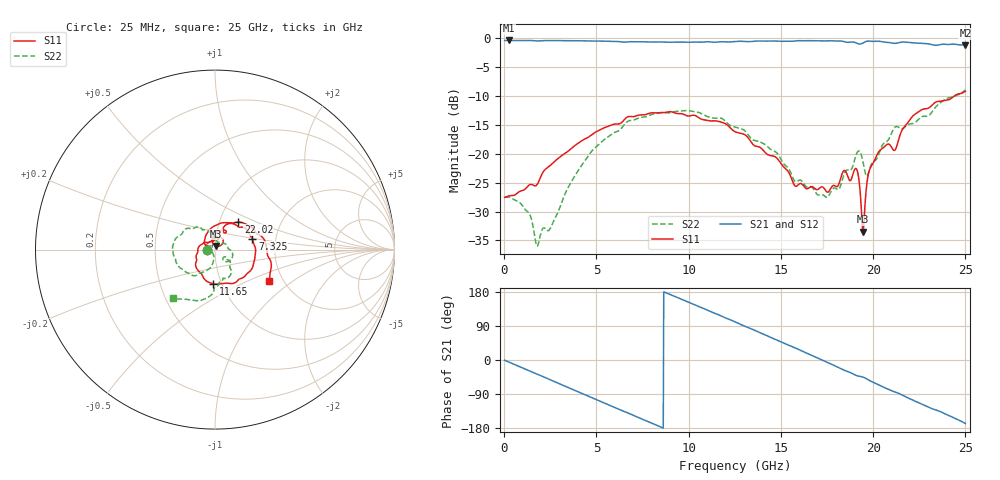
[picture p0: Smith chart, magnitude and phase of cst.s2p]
! RG_ts6_sw_gnd: Finite board 24 × 16 mm, ThunderScope stack, via F → In3 (stub to B) through In1 GND / In2 GND / In4 GND, four GND vias at 1 mm joined to In1 and In4 and In2
! stackup: ThunderScope Rev5.3 6-layer with the In2 plane
! ports: 1 F, 2 In3
! CST Studio Suite 2025.5 Release from 2025-05-30, time domain (FIT, hexahedral, PBA), 288925 mesh cells, 68 s
! mesh: {'lpw': 20, 'lpb': 20, 'minstep': 0.0, 'ratio': 20}; ports: port 1 (face); port 2 (face)
! interpolated from CST's 1001 samples to the case grid
# Hz S RI R 50
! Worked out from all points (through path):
!   1000 points, 25 MHz to 25 GHz, reference 50 ohm
!   highest |S21| = -0.37 dB at 275 MHz (marker M1); lowest = -1.2 dB at 25 GHz (marker M2)
!   group delay of S21, straight-line fit = 58.4 ps
!   lowest |S11| = -33.5 dB at 19.45 GHz (marker M3), VSWR 1.04, Z = 50.6 + j2.03 ohm
!   |S11| at or under -10 dB: start of sweep to 24.39 GHz
!   |S22| runs from -36.0 to -8.9 dB; largest |S21 - S12| = 0.0015
!   S11 on the Smith chart (normalised r, x): 25 MHz: 0.92, +0.00; 7.325 GHz: 1.51, +0.19; 11.65 GHz: 0.91, -0.36; 22.02 GHz: 1.23, +0.39; 25 GHz: 1.70, -0.67
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2.5e7  -0.042 0.000123  0.9572 -0.00864  0.9574 -0.00871  -0.0421 4.51e-05
2.75e8  -0.0432 0.00279  0.9532 -0.0962  0.9529 -0.0963  -0.0422 0.00145
1.325e9  -0.0496 0.0193  0.8469 -0.4469  0.8468 -0.4472  -0.0307 0.00318
1.8e9  -0.0489 0.0243  0.7503 -0.5809  0.7506 -0.5812  -0.0151 -0.00489
4.2e9  -0.00787 0.1295  0.0333 -0.9512  0.033 -0.9513  -0.0132 -0.0783
5.6e9  0.0909 0.1464  -0.4338 -0.8389  -0.4335 -0.8388  -0.0623 -0.1243
7.325e9  0.2085 0.0588  -0.8302 -0.428  -0.8299 -0.4278  -0.1631 -0.1244
8.35e9  0.2235 -0.0389  -0.9242 -0.0995  -0.9241 -0.0993  -0.2101 -0.0825
1.005e10  0.1309 -0.1676  -0.812 0.4422  -0.8119 0.4425  -0.2345 0.0239
1.165e10  -0.00924 -0.1901  -0.4473 0.8193  -0.4473 0.8194  -0.1771 0.1019
1.2525e10  -0.0745 -0.136  -0.1711 0.9244  -0.171 0.9242  -0.1241 0.1169
1.445e10  -0.0961 -0.0087  0.4803 0.8174  0.4801 0.8174  -0.0374 0.1027
1.5775e10  -0.0398 0.0345  0.8056 0.5038  0.8056 0.5038  -0.00407 0.0574
1.6675e10  -0.0257 0.0453  0.9314 0.198  0.9314 0.1979  0.00682 0.0511
1.7525e10  -0.00878 0.0458  0.9464 -0.1023  0.9464 -0.1021  0.0182 0.038
1.905e10  0.0328 0.0671  0.7012 -0.5898  0.701 -0.5901  0.0942 -0.0125
1.945e10  0.00676 0.0201  0.6426 -0.6453  0.6426 -0.6455  0.0549 -0.0652
1.985e10  -0.0056 0.0756  0.537 -0.7763  0.5374 -0.776  0.0641 -0.0435
2.085e10  0.0592 0.1059  0.1913 -0.8997  0.1909 -0.8991  0.0851 -0.1037
2.12e10  0.0477 0.0975  0.0862 -0.9004  0.0861 -0.9012  0.0774 -0.1526
2.2025e10  0.1299 0.1535  -0.2086 -0.8952  -0.2086 -0.8941  0.0289 -0.1798
2.5e10  0.3016 -0.1737  -0.8479 -0.1868  -0.8467 -0.1872  -0.2347 -0.2694
